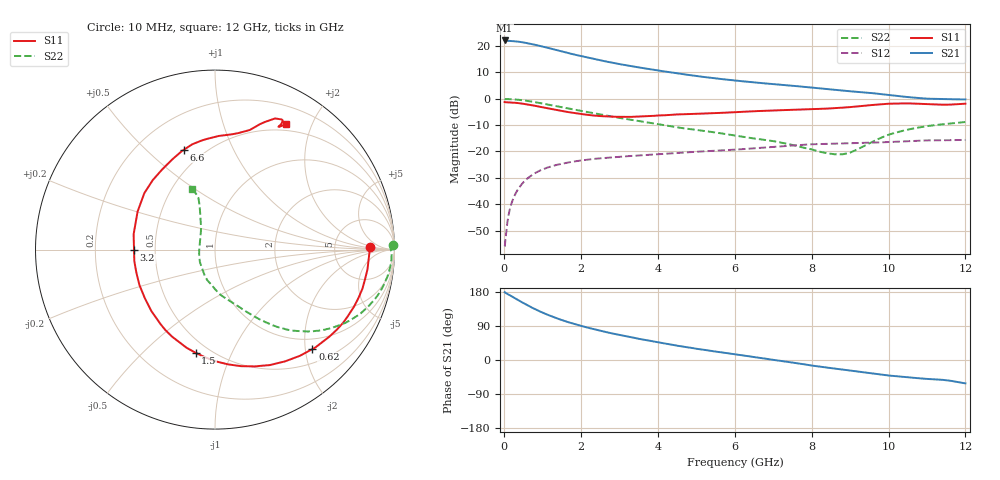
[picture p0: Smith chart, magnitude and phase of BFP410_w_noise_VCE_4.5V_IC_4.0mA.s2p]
! Infineon Technologies  Discrete & RF Semiconductors
! BFP410
! VCE =  4.5 V,  IC =  4.0 mA
! Common Emitter S-Parameters:  Nov 2015
# GHz  S  MA  R  50
!  f  S11  S21  S12  S22
! GHz  MAG  ANG  MAG  ANG  MAG  ANG  MAG  ANG
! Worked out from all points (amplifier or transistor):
!   243 points, 10 MHz to 12 GHz, reference 50 ohm
!   highest |S21| = 22.1 dB at 10 MHz (marker M1)
!   |S21| within 3 dB of that: start of sweep to 1.19 GHz
!   unconditionally stable (mu >= 1): 12.88 MHz to 15.48 MHz; 3.345 GHz to end of sweep
!   at 240 MHz: K = 0.16, MSG = 29.7 dB, |S12| = -37.7 dB
!   at 1.84 GHz: K = 0.55, MSG = 20.2 dB, |S12| = -23.8 dB
!   at 12 GHz: K = 1.07, MAG = 6.0 dB, |S12| = -15.6 dB
!   lowest NFmin = 0.94 dB at 900 MHz
!   S11 on the Smith chart (normalised r, x): 10 MHz: 14, +2; 620 MHz: 0.77, -2.15; 1.5 GHz: 0.42, -0.74; 3.2 GHz: 0.38, -0.00; 6.6 GHz: 0.39, +0.66; 12 GHz: 0.41, +1.64
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0.01  0.8642 1.0  12.73 179.0  0.0016 -1.1  0.9902 1.6
0.05  0.8579 -3.5  12.52 176.2  0.0028 63.9  0.9852 -1.2
0.12  0.8543 -8.9  12.49 172.4  0.0066 75.7  0.9833 -4.1
0.3  0.837 -22.4  12.23 161.6  0.0162 75.0  0.9655 -10.6
0.46  0.8093 -34.2  11.8 152.4  0.0242 70.7  0.9397 -16.0
0.62  0.7756 -45.6  11.25 143.4  0.0315 65.8  0.9052 -21.1
0.8  0.735 -57.9  10.55 134.3  0.0388 60.8  0.8618 -26.3
1  0.6874 -71.2  9.758 124.9  0.0458 55.7  0.8091 -31.5
1.22  0.6386 -84.7  8.894 115.6  0.0521 50.8  0.7531 -36.4
1.5  0.5852 -100.6  7.876 105.4  0.0587 45.5  0.687 -41.6
1.74  0.5472 -113.4  7.125 97.5  0.0632 41.7  0.637 -45.3
2.02  0.5113 -127.1  6.373 89.5  0.0678 38.2  0.585 -48.9
2.6  0.465 -154.9  5.166 74.7  0.0752 31.9  0.4872 -55.5
3.2  0.4511 -179.5  4.277 62.3  0.0812 27.5  0.4101 -61.2
4.1  0.4834 151.2  3.349 45.0  0.09 22.4  0.3202 -70.4
5  0.5197 131.9  2.695 29.7  0.0987 17.8  0.2555 -82.7
6.1  0.5594 114.1  2.179 13.6  0.1093 12.8  0.195 -96.4
6.6  0.5831 107.2  2.01 6.3  0.1158 10.5  0.1723 -105.2
8.2  0.6404 84.8  1.573 -17.2  0.1382 -1.1  0.0992 -150.3
9  0.6939 73.8  1.385 -27.8  0.1433 -7.0  0.095 151.2
10.2  0.809 64.1  1.136 -42.8  0.1529 -13.9  0.2286 111.4
12  0.8047 60.4  0.97 -61.7  0.1658 -28.6  0.3615 111.0
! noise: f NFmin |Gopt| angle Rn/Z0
0.45  0.98  0.32  5  0.21
0.9  0.94  0.3  19  0.2
1.8  1.11  0.22  51  0.18
2.4  1.13  0.21  57  0.19
5.5  2.09  0.32  -131  0.22
10  3.48  0.67  -53  1.85
